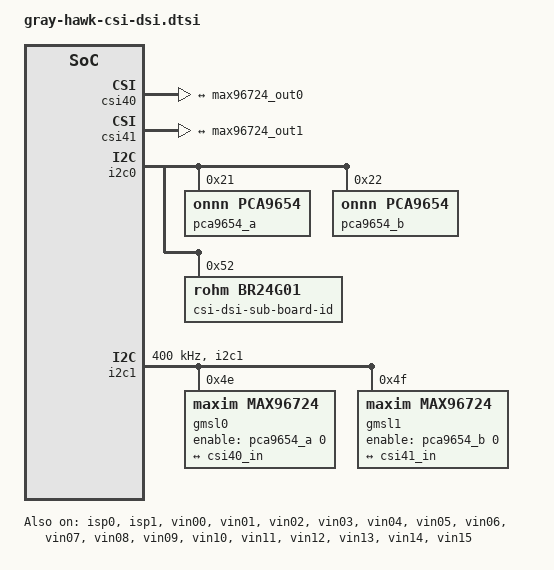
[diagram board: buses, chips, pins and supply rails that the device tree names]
// SPDX-License-Identifier: (GPL-2.0-only OR BSD-2-Clause)
/*
 * Device Tree Source for the R-Car V4M Gray Hawk CSI/DSI sub-board
 *
 * Copyright (C) 2023 Renesas Electronics Corp.
 * Copyright (C) 2024 Niklas Söderlund <niklas.soderlund@ragnatech.se>
 */

#include <dt-bindings/media/video-interfaces.h>

&csi40 {
	status = "okay";

	ports {
		#address-cells = <1>;
		#size-cells = <0>;

		port@0 {
			reg = <0>;

			csi40_in: endpoint {
				bus-type = <MEDIA_BUS_TYPE_CSI2_DPHY>;
				clock-lanes = <0>;
				data-lanes = <1 2 3 4>;
				remote-endpoint = <&max96724_out0>;
			};
		};
	};
};

&csi41 {
	status = "okay";

	ports {
		#address-cells = <1>;
		#size-cells = <0>;

		port@0 {
			reg = <0>;

			csi41_in: endpoint {
				bus-type = <MEDIA_BUS_TYPE_CSI2_DPHY>;
				clock-lanes = <0>;
				data-lanes = <1 2 3 4>;
				remote-endpoint = <&max96724_out1>;
			};
		};
	};
};

&i2c0 {
	pca9654_a: gpio@21 {
		compatible = "onnn,pca9654";
		reg = <0x21>;
		gpio-controller;
		#gpio-cells = <2>;
	};

	pca9654_b: gpio@22 {
		compatible = "onnn,pca9654";
		reg = <0x22>;
		gpio-controller;
		#gpio-cells = <2>;
	};

	eeprom@52 {
		compatible = "rohm,br24g01", "atmel,24c01";
		label = "csi-dsi-sub-board-id";
		reg = <0x52>;
		pagesize = <8>;
	};
};

&i2c1 {
	pinctrl-0 = <&i2c1_pins>;
	pinctrl-names = "default";

	status = "okay";
	clock-frequency = <400000>;

	gmsl0: gmsl-deserializer@4e {
		compatible = "maxim,max96724";
		reg = <0x4e>;
		enable-gpios = <&pca9654_a 0 GPIO_ACTIVE_HIGH>;

		ports {
			#address-cells = <1>;
			#size-cells = <0>;

			port@4 {
				reg = <4>;
				max96724_out0: endpoint {
					bus-type = <MEDIA_BUS_TYPE_CSI2_DPHY>;
					clock-lanes = <0>;
					data-lanes = <1 2 3 4>;
					remote-endpoint = <&csi40_in>;
				};
			};
		};
	};

	gmsl1: gmsl-deserializer@4f {
		compatible = "maxim,max96724";
		reg = <0x4f>;
		enable-gpios = <&pca9654_b 0 GPIO_ACTIVE_HIGH>;

		ports {
			#address-cells = <1>;
			#size-cells = <0>;

			port@4 {
				reg = <4>;
				max96724_out1: endpoint {
					bus-type = <MEDIA_BUS_TYPE_CSI2_DPHY>;
					clock-lanes = <0>;
					data-lanes = <1 2 3 4>;
					remote-endpoint = <&csi41_in>;
				};
			};
		};
	};
};

&isp0 {
	status = "okay";
};

&isp1 {
	status = "okay";
};

&pfc {
	i2c1_pins: i2c1 {
		groups = "i2c1";
		function = "i2c1";
	};
};

&vin00 {
	status = "okay";
};

&vin01 {
	status = "okay";
};

&vin02 {
	status = "okay";
};

&vin03 {
	status = "okay";
};

&vin04 {
	status = "okay";
};

&vin05 {
	status = "okay";
};

&vin06 {
	status = "okay";
};

&vin07 {
	status = "okay";
};

&vin08 {
	status = "okay";
};

&vin09 {
	status = "okay";
};

&vin10 {
	status = "okay";
};

&vin11 {
	status = "okay";
};

&vin12 {
	status = "okay";
};

&vin13 {
	status = "okay";
};

&vin14 {
	status = "okay";
};

&vin15 {
	status = "okay";
};
